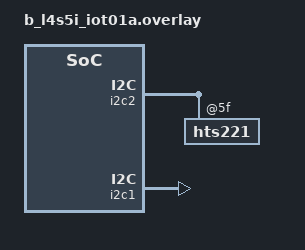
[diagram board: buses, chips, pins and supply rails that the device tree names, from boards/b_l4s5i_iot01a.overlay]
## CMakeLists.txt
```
# SPDX-License-Identifier: Apache-2.0

cmake_minimum_required(VERSION 3.20.0)

find_package(Zephyr REQUIRED HINTS $ENV{ZEPHYR_BASE})
project(weather_assistant_zephyr)

file(GLOB SRC_FILES    
    "src/main.c"
    "src/open_meteo_http.c"
)

target_sources_ifdef(CONFIG_WIFI app PRIVATE "src/wifi.c")

set(gen_dir ${ZEPHYR_BINARY_DIR}/include/generated/)


include(${ZEPHYR_BASE}/cmake/cfb.cmake NO_POLICY_SCOPE)
generate_cfb_font_for_target(app fonts/04B.TTF ${gen_dir}/cfb_mono_04B.h 12 16 -s 12 --first 32 --last 126 --name cfb_custom_1)
generate_cfb_font_for_target(app fonts/COMICBD.TTF ${gen_dir}/cfb_mono_COMICBD.h 13 16 -s 12 --first 32 --last 126 --name cfb_custom_2)

target_sources(app PRIVATE ${SRC_FILES})
```

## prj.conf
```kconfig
# log
CONFIG_LOG=y
CONFIG_LOG_DEFAULT_LEVEL=1
CONFIG_CBPRINTF_FP_SUPPORT=y

# sensor
CONFIG_SENSOR=y

# display
CONFIG_DISPLAY=y
# needed for the k_malloc function used by cfb library
CONFIG_HEAP_MEM_POOL_SIZE=16384


# WIFI
CONFIG_WIFI=y
CONFIG_NETWORKING=y
CONFIG_NET_TCP=y

# Enable DHCPv4 server
CONFIG_NET_DHCPV4=y
CONFIG_NET_MGMT=y
CONFIG_NET_MGMT_EVENT=y

# Enable IPv4 support
CONFIG_NET_IPV4=y
CONFIG_NET_IPV6=n

# Enabling BSD Sockets compatible API
CONFIG_NET_SOCKETS=y
CONFIG_POSIX_API=y
CONFIG_NET_TX_STACK_SIZE=4096
CONFIG_NET_RX_STACK_SIZE=4096
CONFIG_NET_SOCKETS_DNS_TIMEOUT=5000

#Enable DNS Resolver
CONFIG_DNS_RESOLVER=y
CONFIG_DNS_SERVER_IP_ADDRESSES=y
CONFIG_DNS_SERVER1="8.8.8.8"

#Enable HTTP Client
CONFIG_HTTP_CLIENT=y

##############################
######	Other libraries ######
CONFIG_ENTROPY_GENERATOR=y
```

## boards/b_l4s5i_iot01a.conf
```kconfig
# sensor interface
CONFIG_I2C=y

# temperature sensor
CONFIG_HTS221=y

# ssd1306 display
CONFIG_CFB_LOG_LEVEL_DBG=y
CONFIG_CHARACTER_FRAMEBUFFER=y
```

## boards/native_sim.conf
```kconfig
CONFIG_AMD_SB_TSI=y
CONFIG_EMUL_AMD_SB_TSI=y
CONFIG_EMUL=y

CONFIG_LV_Z_MEM_POOL_SIZE=32768

CONFIG_CFB_LOG_LEVEL_DBG=y
CONFIG_CHARACTER_FRAMEBUFFER=y

# Network address config
CONFIG_WIFI=n
CONFIG_NET_DHCPV4=n
CONFIG_NET_CONFIG_SETTINGS=y
CONFIG_NET_CONFIG_NEED_IPV4=y
CONFIG_NET_CONFIG_MY_IPV4_ADDR="192.0.2.1"
CONFIG_NET_CONFIG_PEER_IPV4_ADDR="192.0.2.2"
CONFIG_NET_CONFIG_MY_IPV4_GW="192.0.2.2"
```

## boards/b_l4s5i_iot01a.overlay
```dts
/{
	aliases {
		tempsensor = &hts221;
	};
};

&i2c2{
	hts221: hts221@5f{
	status = "okay";
	};
};

arduino_i2c: &i2c1{
	status = "okay";
};
```

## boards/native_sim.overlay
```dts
/{
	aliases {
		tempsensor = &amd_sb_tsi;
	};
};

&i2c0{
    amd_sb_tsi: amd_sb_tsi@74 {
        compatible = "amd,sb-tsi";
        reg = <0x74>;
    };
};

&sdl_dc {
	compatible = "zephyr,sdl-dc";
	height = <64>;
	width = <128>;
};
```

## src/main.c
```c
/**
 * @file main.c
 * @author Jeronimo Agullo (jeronimoagullo97@gmail.com)
 * @brief 
 * @version 0.1
 * @date 2023-12-23
 * 
 * @copyright Copyright (c) 2023
 * 
 */

#include <zephyr/logging/log.h>
LOG_MODULE_REGISTER(weather_assistant, LOG_LEVEL_DBG);

#include <stdio.h>
#include <zephyr/kernel.h>
#include <zephyr/device.h>
#include <zephyr/drivers/sensor.h>
#include <zephyr/drivers/gpio.h>
#include <zephyr/display/cfb.h>
#include "cfb_mono_04B.h"
#include "cfb_mono_COMICBD.h"
#include "wifi.h"
#include "open_meteo_http.h"

#define MAX_NUM_FONT_SIZES 3

#define TEMP_SENSOR DT_ALIAS(tempsensor)
const struct device *temp_humd_device = DEVICE_DT_GET(TEMP_SENSOR);

#if !defined(CONFIG_BOARD_NATIVE_SIM)
#define CTRL_BUTTON DT_ALIAS(sw0)
const struct device *ctrl_button = DEVICE_DT_GET(CTRL_BUTTON);

static const struct gpio_dt_spec button = 
				GPIO_DT_SPEC_GET_OR(CTRL_BUTTON, gpios,{0});
static struct gpio_callback button_cb_data;
#endif

const struct device *display_device;

/* Defining display stack area */
#define DISPLAY_STACK_SIZE 512
#define THREAD_DISPLAY_PRIORITY 5
K_THREAD_STACK_DEFINE(display_stack_area, DISPLAY_STACK_SIZE);
struct k_thread thread_display_data;

struct sensor_value temperature_SV; 
struct sensor_value humidity_SV;

struct k_timer sampling_timer;

/**
 * @brief button callback
 * 
 * @param dev 
 * @param cb 
 * @param pins 
 */
void button_pressed(const struct device *dev, struct gpio_callback *cb,
		    uint32_t pins)
{
	LOG_INF("Button pressed at %" PRIu32 "", k_cycle_get_32());
}

/**
 * @brief work handler for sampling timer. it is needed since 
 * 		  the required work cannot be done at the interrupt level
 * 
 * @param work 
 */
void sampling_work_handler(struct k_work *work){
	int rc = 0;

	/* Sampling a new sensor value */
	rc = sensor_sample_fetch(temp_humd_device);
	if(rc != 0){
		LOG_ERR("error fetching the sensor. Error: %d", rc);
	}

	rc = sensor_channel_get(temp_humd_device, SENSOR_CHAN_AMBIENT_TEMP, &temperature_SV);
	if(rc != 0){
		LOG_ERR("sensor get SENSOR_CHAN_AMBIENT_TEMP failed. Error: %d", rc);
	}

	rc = sensor_channel_get(temp_humd_device, SENSOR_CHAN_HUMIDITY, &humidity_SV);
	if(rc != 0){
		LOG_ERR("sensor get SENSOR_CHAN_HUMIDITY failed. Error: %d", rc);
	}

	LOG_INF("Temperature: %.02fºC. Humidity: %.02f%%", 
				sensor_value_to_double(&temperature_SV),
				sensor_value_to_double(&humidity_SV));
}

K_WORK_DEFINE(sampling_work, sampling_work_handler);

/**
 * @brief expiring function for sampling timer
 * 
 * @param timer_id 
 */
extern void sampling_function(struct k_timer *timer_id){
	k_work_submit(&sampling_work);
}

extern void thread_display(void* v1, void *v2, void *v3){
	uint8_t width, height;
	char buf[20];
	struct weather_t weather_data;
	memset(&weather_data, 0, sizeof(struct weather_t));

	// get display width and height of font with index 0
	cfb_get_font_size(display_device, 0, &width, &height);

	while (1) {
		cfb_framebuffer_clear(display_device, false);
		cfb_framebuffer_set_font(display_device, 0);

		// Display Weather Assistant in lines 1 and 2
		cfb_print(display_device, ">>Ambient:",0,0);

		cfb_framebuffer_set_font(display_device, 1);

		if (IS_ENABLED(CONFIG_BOARD_NATIVE_SIM)) {
			k_msgq_get(&weather_q, &weather_data, K_NO_WAIT);

			// Display temperature in line 3
			sprintf(buf, "%.02fC", weather_data.temperature);
			cfb_print(display_device, buf, 0, 2 * height);

			// Display humidity in line 4
			sprintf(buf, "%.02f%%", weather_data.humidity);
			cfb_print(display_device, buf, 0, 3 * height);
		} else {
			// Display temperature in line 3
			sprintf(buf, "%.02fC", sensor_value_to_double(&temperature_SV));
			cfb_print(display_device, buf, 0, 2 * height);

			// Display humidity in line 4
			sprintf(buf, "%.02f%%", sensor_value_to_double(&humidity_SV));
			cfb_print(display_device, buf, 0, 3 * height);
		}

		// Finalize frame to load it into RAM to be displayed
		cfb_framebuffer_finalize(display_device);
		
		k_msleep(500);
	}
}

int main(void)
{
	uint16_t x_res, y_res;
	uint16_t rows, cols;
	uint8_t width, height;
	uint8_t ppt;
	int ret;

#if !defined(CONFIG_BOARD_NATIVE_SIM)
	if (!gpio_is_ready_dt(&button)) {
		LOG_ERR("Error: button device %s is not ready",
		       button.port->name);
		return 0;
	}

	ret = gpio_pin_configure_dt(&button, GPIO_INPUT);
	if (gpio_pin_configure_dt(&button, GPIO_INPUT)) {
		LOG_ERR("Error %d: failed to configure %s pin %d",
		       ret, button.port->name, button.pin);
		return 0;
	}

	ret = gpio_pin_interrupt_configure_dt(&button,
					      GPIO_INT_EDGE_TO_ACTIVE);
	if (ret != 0) {
		LOG_ERR("Error %d: failed to configure interrupt on %s pin %d",
			ret, button.port->name, button.pin);
		return 0;
	}

	gpio_init_callback(&button_cb_data, button_pressed, BIT(button.pin));
	gpio_add_callback(button.port, &button_cb_data);
#endif

	/* Init display */
	display_device = DEVICE_DT_GET(DT_CHOSEN(zephyr_display));
	if (!device_is_ready(display_device)) {
		LOG_ERR("Display %s not found. Aborting sample.",
			display_device->name);
	} else {
		LOG_INF("Display %s is ready", display_device->name);
	}

	/* Init routing for display */
	if (display_set_pixel_format(display_device, PIXEL_FORMAT_MONO10) != 0) {
		if (display_set_pixel_format(display_device, PIXEL_FORMAT_MONO01) != 0) {
			LOG_ERR("Failed to set required pixel format");
		}
	}

	if (cfb_framebuffer_init(display_device)) {
		LOG_ERR("Framebuffer initialization failed!\n");
	}

	cfb_framebuffer_clear(display_device, true);
	display_blanking_off(display_device);

	x_res = cfb_get_display_parameter(display_device, CFB_DISPLAY_WIDTH);
	y_res = cfb_get_display_parameter(display_device, CFB_DISPLAY_HEIGHT);
	rows = cfb_get_display_parameter(display_device, CFB_DISPLAY_ROWS);
	cols = cfb_get_display_parameter(display_device, CFB_DISPLAY_COLS);
	ppt = cfb_get_display_parameter(display_device, CFB_DISPLAY_PPT);

	// log display parameters
	LOG_INF("Display parameters: x_res %d, y_res %d, ppt %d, rows %d, cols %d",
	       x_res, y_res, ppt, rows, cols);

	// log supported display fonts
	LOG_INF("number of fonts: %d, indexes and sizes:", cfb_get_numof_fonts(display_device));
	for (int idx = 0; idx < cfb_get_numof_fonts(display_device); idx++) {
		cfb_get_font_size(display_device, idx, &width, &height);
		LOG_INF("font %d -> width %d, height %d", idx, width, height);
	}

	// get display width and height of font with index 0
	cfb_get_font_size(display_device, 0, &width, &height);

	cfb_framebuffer_invert(display_device);

	// Set font kerning (spacing between individual letters).
	cfb_set_kerning(display_device, 0);

	// Display welcome message
	cfb_framebuffer_clear(display_device, false);
	k_msleep(100);

	cfb_framebuffer_set_font(display_device, 0);
	cfb_print(display_device, "Weather", 0, 0);
	cfb_print(display_device, "Assistant!", 0, height);
	cfb_print(display_device, "By", 0, 2 * height);
	cfb_print(display_device, "Jeronimo", (x_res - 8 * width), 3 * height);
	cfb_framebuffer_finalize(display_device);

	k_tid_t idThreadDisplay = k_thread_create(&thread_display_data, display_stack_area,
							K_THREAD_STACK_SIZEOF(display_stack_area),
							thread_display,
							NULL, NULL, NULL,
							THREAD_DISPLAY_PRIORITY, 0, K_MSEC(2000));


	/* Init the sensor variables */
	memset(&temperature_SV, 0, sizeof(struct sensor_value));
	memset(&humidity_SV, 0, sizeof(struct sensor_value));

	/* Init temperature and humidity sensor */
	if (!device_is_ready(temp_humd_device)) {
		LOG_ERR("Sensor %s is not ready", temp_humd_device->name);
	} else {
		LOG_INF("Sensor %s is ready", temp_humd_device->name);
	}

	/* Init the sampling timer */
	k_timer_init(&sampling_timer, sampling_function, NULL);

	/* start the sampling with period of 500 ms */
	k_timer_start(&sampling_timer, K_NO_WAIT, K_MSEC(500));

	if(IS_ENABLED(CONFIG_WIFI))
		init_wifi();

	http_get_open_meteo_forcast();

	LOG_INF("end of main");

	return 0;
}
```

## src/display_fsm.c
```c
#include <stdio.h>
#include <zephyr/kernel.h>
#include <zephyr/device.h>
#include <zephyr/drivers/sensor.h>
#include <zephyr/drivers/gpio.h>
#include <zephyr/display/cfb.h>
#include <zephyr/smf.h>

#include "display_fsm.h"

/* Defining display stack area */
#define DISPLAY_STACK_SIZE 512
#define THREAD_DISPLAY_PRIORITY 5
K_THREAD_STACK_DEFINE(display_stack_area, DISPLAY_STACK_SIZE);
struct k_thread thread_display_data;


/* States of the FSM */
enum demo_state { 
	ST_INIT,
	ST_DISPLAY_SENSOR_VALUES,
	ST_DISPLAY_FORECAST_1,
	ST_DISPLAY_FORECAST_2
};

/* State table declaration */
const struct smf_state display_fsm_states[] = {
   [ST_INIT] = SMF_CREATE_STATE(NULL, st_init_run, NULL),
   [ST_DISPLAY_SENSOR_VALUES] = SMF_CREATE_STATE(NULL, fsm_display_sensor_values, NULL),
   [ST_DISPLAY_FORECAST_1] = SMF_CREATE_STATE(NULL, fsm_display_forecast_1, NULL),
   [ST_DISPLAY_FORECAST_2] = SMF_CREATE_STATE(NULL, fsm_display_forecast_2, NULL)
};

/* User defined object */
struct s_object {
        /* This must be first */
        struct smf_ctx ctx;

        /* Other state specific data add here */
        struct device *display_device;
        struct sensor_value *temperature_SV; 
        struct sensor_value *humidity_SV;
        uint8_t height;
}s_obj;

extern void thread_display(void* v1, void *v2, void *v3){
	int32_t ret = 0;

        /* Run the state machine */
        while(1) {
                /* State machine terminates if a non-zero value is returned */
                ret = smf_run_state(SMF_CTX(&s_obj));
                if (ret) {
                        /* handle return code and terminate state machine */
                        break;
                }
                k_msleep(1000);
        }

}

void st_init_run(Fsm *fsm, const Event *event){
	k_tid_t idThreadDisplay = k_thread_create(&thread_display_data, display_stack_area,
							K_THREAD_STACK_SIZEOF(display_stack_area),
							thread_display,
							NULL, NULL, NULL,
							THREAD_DISPLAY_PRIORITY, 0, K_MSEC(2000));

        smf_set_state(SMF_CTX(&s_obj), &demo_states[ST_DISPLAY_SENSOR_VALUES]);
}

void fsm_display_sensor_values(void *o){
        cfb_framebuffer_clear(s_obj.display_device, false);
        cfb_framebuffer_set_font(s_obj.display_device, 0);

        // Display Weather Assistant in lines 1 and 2
        cfb_print(s_obj.display_device, ">>Ambient:",0,0);

        cfb_framebuffer_set_font(display_device, 1);

        // Display temperature in line 3
        sprintf(buf, "%.02fC", sensor_value_to_double(s_obj.temperature_SV));
        cfb_print(display_device, buf, 0, 2 * s_obj.height);

        // Display humidity in line 4
        sprintf(buf, "%.02f%%", sensor_value_to_double(s_obj.humidity_SV));
        cfb_print(display_device, buf, 0, 3 * s_obj.height);

        // Finalize frame to load it into RAM to be displayed
        cfb_framebuffer_finalize(display_device);
}

void fsm_display_forecast_1(Fsm *fsm, const Event *event){
        cfb_framebuffer_clear(display_device, false);
        cfb_framebuffer_set_font(display_device, 0);

        // Display Weather Assistant in lines 1 and 2
        cfb_print(display_device, ">>forecast 1",0,0);

        cfb_framebuffer_set_font(display_device, 1);

        // Finalize frame to load it into RAM to be displayed
        cfb_framebuffer_finalize(display_device);
}

void fsm_display_forecast_2(Fsm *fsm, const Event *event){
        cfb_framebuffer_clear(display_device, false);
        cfb_framebuffer_set_font(display_device, 0);

        // Display Weather Assistant in lines 1 and 2
        cfb_print(display_device, ">>forecast 1",0,0);

        cfb_framebuffer_set_font(display_device, 1);

        // Finalize frame to load it into RAM to be displayed
        cfb_framebuffer_finalize(display_device);
}

void fsm_sleep_state(Fsm *fsm, const Event *event){

}

void start_display_fsm(struct device *display_device,
		uint8_t height,
		struct sensor_value *temperature_SV,
        	struct sensor_value *humidity_SV) {

        s_obj.display_device = display_device;
        s_obj.height= height;
        s_obj.temperature_SV = temperature_SV;
        s_obj.humidity_SV = humidity_SV;

        /* Set initial state */
        smf_set_initial(SMF_CTX(&s_obj), &display_fsm_states[ST_INIT]);
}
```

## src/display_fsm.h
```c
//TODO: https://docs.zephyrproject.org/latest/services/smf/index.html
#include <zephyr/kernel.h>
#include <zephyr/smf.h>

/* States of the FSM = function definitions */
void st_init_run(Fsm *fsm, const Event *event);
void fsm_display_sensor_values(Fsm *fsm, const Event *event);
void fsm_display_forecast_1(Fsm *fsm, const Event *event);
void fsm_display_forecast_2(Fsm *fsm, const Event *event);
void start_display_fsm(struct device *display_device,
				uint8_t height,
				struct sensor_value *temperature_SV,
        		struct sensor_value *humidity_SV);
				
//void fsm_sleep_state(Fsm *fsm, const Event *event);
```

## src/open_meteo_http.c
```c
/**
 * @file open_meteo_http.c
 * @author Jeronimo Agullo (jeronimoagullo97@gmail.com)
 * @brief This file contains the function to request a GET HTTP to open-meteo by posix socket
 * By the Zephyr's BSD Socket API
 * For more information about socket in Zephyr: https://academy.nordicsemi.com/courses/cellular-iot-fundamentals/lessons/lesson-3-cellular-fundamentals/topic/socket-api/

 * @version 0.1
 * @date 2024-01-29
 *
 * @copyright Copyright (c) 2024
 *
 */


#include <netinet/in.h>
#include <sys/socket.h>
#include <zephyr/data/json.h>
#include <zephyr/net/http/client.h>


#include <zephyr/logging/log.h>
LOG_MODULE_REGISTER(open_meteo, LOG_LEVEL_DBG);

#include "open_meteo_http.h"

/* HTTP server to connect to */
#define SERVER_HOST "api.open-meteo.com"

/* Port to connect to, as string */
#define SERVER_PORT "80"

/* HTTP path to request */
#define HTTP_PATH "/v1/forecast?latitude=52.52&longitude=13.41&current=temperature_2m,relative_humidity_2m"

#define SSTRLEN(s) (sizeof(s) - 1)
#define CHECK(r) { if (r == -1) { LOG_ERR("Error: " #r "\n"); return; } }

#define RESP_OFFSET 56
#define RESP_LEN (RESP_OFFSET - 9)

static uint8_t recv_buf_ipv4[NET_IPV4_MTU];

K_MSGQ_DEFINE(weather_q, sizeof(struct weather_t), 2, 1);

static int weather_parse_data(uint8_t *weather_update, struct weather_t *weather_data)
{
    int ret;

    memset(weather_data, 0, sizeof(struct weather_t));

    ret = sscanf((char *)weather_update,
                 "\"temperature_2m\":%f,\"relative_humidity_2m\":%f",
                 &weather_data->temperature,
                 &weather_data->humidity);

    if (ret != 2) {
        printf("Failed to parse data.\n");
    }

	return ret;
}

static int http_response_cb(struct http_response *rsp,
		       enum http_final_call final_data,
		       void *user_data)
{
	char weather_update[RESP_LEN];
	struct weather_t weather_data;

	uint16_t weather_offset = rsp->body_frag_len - RESP_OFFSET;

	memcpy(weather_update, rsp->body_frag_start + weather_offset, RESP_LEN);
	weather_update[RESP_LEN] = '\0';

	weather_parse_data(weather_update, &weather_data);

	LOG_INF("Temperature: %.1f°C", weather_data.temperature);
	LOG_INF("Relative Humidity: %.1f%%", weather_data.humidity);

	if (k_msgq_put(&weather_q, &weather_data, K_NO_WAIT) != 0) {
		LOG_ERR("Failed to put new input event");
	}

	return 0;
}

void http_get_open_meteo_forcast(void){
	int ret = 0;
	int sock;

	struct addrinfo *result;
	static struct addrinfo hints = {
	.ai_family = AF_INET,
	.ai_socktype = SOCK_STREAM
	};

	LOG_INF("Preparing HTTP GET request for http://" SERVER_HOST ":" SERVER_PORT HTTP_PATH "");

	ret = getaddrinfo(SERVER_HOST, SERVER_PORT, &hints, &result);
	LOG_INF("getaddrinfo status: %d", ret);

	if (ret != 0) {
		LOG_ERR("Unable to resolve address, quitting");
		return;
	}

	sock = socket(result->ai_family, result->ai_socktype, result->ai_protocol);

	CHECK(sock);
	LOG_INF("sock = %d", sock);

	ret = connect(sock, result->ai_addr, result->ai_addrlen);

	if (ret < 0) {
		LOG_ERR("Cannot connect to socket remote: %d",-errno);
		return;
	} else {
		LOG_INF("Connection successed");
	}

	struct http_request req;
	memset(&req, 0, sizeof(req));

	req.method = HTTP_GET;
	req.url = HTTP_PATH;
	req.host = SERVER_HOST;
	req.protocol = "HTTP/1.1";
	req.response = http_response_cb;
	req.recv_buf = recv_buf_ipv4;
	req.recv_buf_len = sizeof(recv_buf_ipv4);

	ret = http_client_req(sock, &req, CONFIG_NET_SOCKETS_DNS_TIMEOUT, "GET");
	if (ret < 0) {
		LOG_ERR("Client error %d", ret);
	}

	close(sock);

	LOG_INF("socket closed");
	return;
}
```

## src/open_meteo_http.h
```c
/**
 * @file open_meteo_http.c
 * @author Jeronimo Agullo (jeronimoagullo97@gmail.com)
 * @brief 
 * @version 0.1
 * @date 2024-01-29
 * 
 * @copyright Copyright (c) 2024
 * 
 */

#ifndef __OPEN_METEO_H__
#define __OPEN_METEO_H__

struct weather_t {
    float temperature;
    float humidity;
};

extern struct k_msgq weather_q;

/**
 * @brief Function that executes a HTTP GET request to open-meteo
 * 		website: https://open-meteo.com/
 * 
 */
void http_get_open_meteo_forcast(void);

#endif /*__OPEN_METEO_H__*/
```

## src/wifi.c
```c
/**
 * @file wifi.c
 * @author Jeronimo Agullo (jeronimoagullo97@gmail.com)
 * @brief
 * @version 0.1
 * @date 2024-01-28
 *
 * @copyright Copyright (c) 2024
 *
 */
#include <zephyr/net/net_if.h>
#include <zephyr/net/net_core.h>
#include <zephyr/net/net_context.h>
#include <zephyr/net/net_mgmt.h>
#include <zephyr/net/wifi.h>
#include <zephyr/net/wifi_mgmt.h>

#include <zephyr/logging/log.h>
LOG_MODULE_REGISTER(wifi, LOG_LEVEL_INF);

static struct k_sem net_cb_sem;
static struct net_mgmt_event_callback mgmt_cb;

#define NET_EVENT_WIFI_MASK							\
	(NET_EVENT_WIFI_CONNECT_RESULT | NET_EVENT_WIFI_DISCONNECT_RESULT)

static void handler(struct net_mgmt_event_callback *cb,
		    uint32_t mgmt_event,
		    struct net_if *iface)
{
	char buf[NET_IPV4_ADDR_LEN];

	switch (mgmt_event) {
		case NET_EVENT_WIFI_CONNECT_RESULT:
			LOG_INF("Connected to %s", WIFI_SSID);

			LOG_INF("  IP adress: %s", net_addr_ntop(AF_INET,
					&iface->config.ip.ipv4->unicast[0].ipv4.address.in_addr,
					buf, sizeof(buf)));
			LOG_INF("  Subnet: %s", net_addr_ntop(AF_INET,
					&iface->config.ip.ipv4->unicast[0].netmask,
					buf, sizeof(buf)));
			LOG_INF("  Router: %s",	net_addr_ntop(AF_INET, &iface->config.ip.ipv4->gw,
					buf, sizeof(buf)));

			k_sem_give(&net_cb_sem);
			break;
		case NET_EVENT_WIFI_DISCONNECT_RESULT:
			LOG_INF("Disconnected from %s", WIFI_SSID);
			break;
	}
}


void init_wifi(){
	k_sem_init(&net_cb_sem, 0, 1);

	LOG_INF("STARTING WIFI...");

	struct net_if *iface = net_if_get_default();

	if(iface == NULL){
		LOG_ERR("iface is NULL");
	}

	net_mgmt_init_event_callback(&mgmt_cb, handler,
				     NET_EVENT_WIFI_MASK);
	net_mgmt_add_event_callback(&mgmt_cb);

	static struct wifi_connect_req_params wifi_conn_params;

	// Wifi parameters
	wifi_conn_params.ssid = WIFI_SSID;
	wifi_conn_params.ssid_length = strlen(WIFI_SSID);
	wifi_conn_params.psk  = WIFI_PSK;
	wifi_conn_params.psk_length  = strlen(WIFI_PSK);
	wifi_conn_params.channel = WIFI_CHANNEL_ANY;
	wifi_conn_params.security = WIFI_SECURITY_TYPE_PSK ;
	wifi_conn_params.band = WIFI_FREQ_BAND_2_4_GHZ;

	LOG_INF("Connecting to SSID: %s\n", wifi_conn_params.ssid);

	if (net_mgmt(NET_REQUEST_WIFI_CONNECT, iface,
			&wifi_conn_params, sizeof(struct wifi_connect_req_params))) {
		LOG_ERR("Connection failed");
		return;
	} else {
		LOG_INF("Connection requested...");
		// Wait for connection.....
		k_sem_take(&net_cb_sem, K_FOREVER );
	}

	LOG_INF("Connection successed");


}
```

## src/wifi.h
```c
/**
 * @file wifi.h
 * @author Jeronimo Agullo (jeronimoagullo97@gmail.com)
 * @brief 
 * @version 0.1
 * @date 2024-01-28
 * 
 * @copyright Copyright (c) 2024
 * 
 */
#ifndef __WIFI_H__
#define __WIFI_H__

#define WIFI_SSID "<SSID>"
#define WIFI_PSK  "<PASSWORD>"

void init_wifi(void);

/**
 * @}
 */
#endif /*__WIFI_H__*/
```
